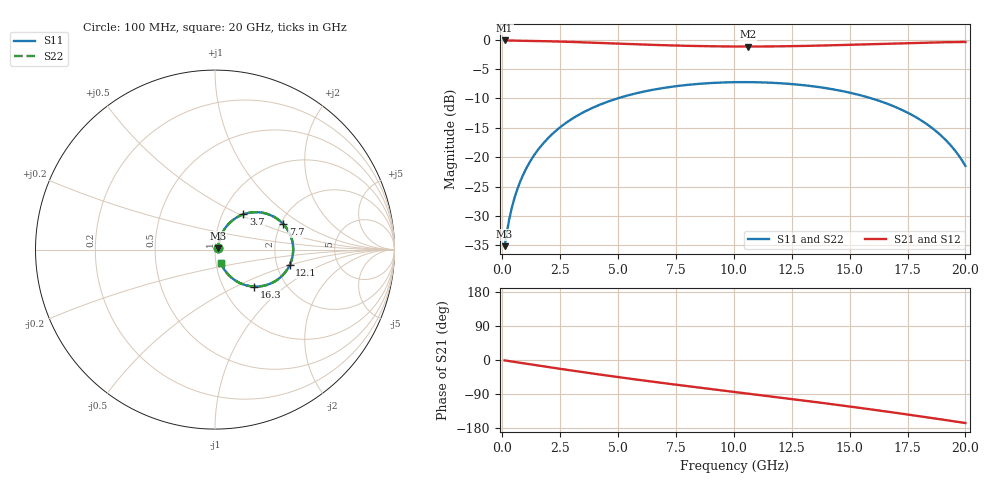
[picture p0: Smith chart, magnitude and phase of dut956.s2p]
! Touchstone file exported from HFSS 2026.1.0
!  File:  C:/ffzhzh/LocalFiles/Ansys_Project_Files/temp_train_TSV_RDL_956_1783283834_39728.aedt
!  Generated:  04:49:22 AM Jul  6, 2026
!  Design:  TSV_RDL
!  Project:  temp_train_TSV_RDL_956_1783283834_39728
! Variables:
!  h_bsmrdl = 2.88um
!  h_ox = 20um
!  h_rdl = 5um
!  h_sub = 67.28um
!  h_tmrdl = 3.02um
!  h_tsv = 67.28um
!  h_via = 3um
!  l_bsmrdl = 393.43um
!  l_sub = 2817.42um
!  l_tmrdl = 268.49um
!  m_sub = 200um
!  pitch = 44.26um
!  r_tsv = 3.51um
!  s_tmrdl = 10um
!  w_bsmrdl = 28.75um
!  w_sub = 500um
!  w_tmrdl = 25.64um
!  x_tsv_center1 = 281.31um
!  x_tsv_center2 = 703.49um
!  x_tsv_center3 = 997.62um
!  x_tsv_center4 = 1419.8um
!  x_tsv_center5 = 1713.93um
!  x_tsv_center6 = 2136.11um
# GHz S MA R 50.000000
! Terminal data exported
! Port[1] = TM_RDL1_1_T1
! Port[2] = TM_RDL5_1_T1
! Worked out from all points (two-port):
!   200 points, 100 MHz to 20 GHz, reference 50 ohm
!   highest |S21| = -0.13 dB at 100 MHz (marker M1); lowest = -1.2 dB at 10.6 GHz (marker M2)
!   |S21| within 3 dB of the highest: start of sweep to end of sweep
!   lowest |S11| = -35.1 dB at 100 MHz (marker M3), VSWR 1.04, Z = 51.6 + j0.854 ohm
!   |S11| at or under -10 dB: start of sweep to 4.967 GHz; 15.96 GHz to end of sweep
!   |S22| runs from -35.1 to -7.2 dB; largest |S21 - S12| = 5.3e-13
!   S11 on the Smith chart (normalised r, x): 100 MHz: 1.03, +0.02; 3.7 GHz: 1.25, +0.53; 7.7 GHz: 2.07, +0.70; 12.1 GHz: 2.35, -0.49; 16.3 GHz: 1.40, -0.63; 20 GHz: 1.06, -0.16
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0.1  0.01755 28.1  0.9846 -1.0  0.9846 -1.0  0.01755 28.1
! Gamma 0 0 0 0
! Port Impedance 50 0 50 0
0.3  0.0297 52.8  0.983 -3.0  0.983 -3.0  0.0297 52.8
0.5  0.04327 60.8  0.9814 -4.8  0.9814 -4.8  0.04327 60.8
0.8  0.06396 65.3  0.9793 -7.6  0.9793 -7.6  0.06396 65.3
1.2  0.09189 66.5  0.9764 -11.4  0.9764 -11.4  0.09189 66.5
2.2  0.1604 62.2  0.9668 -20.6  0.9668 -20.6  0.1604 62.2
3.5  0.2411 52.7  0.949 -32.2  0.949 -32.2  0.2411 52.7
3.7  0.2524 51.2  0.9459 -34.0  0.9459 -34.0  0.2524 51.2
5.1  0.3221 40.2  0.9238 -45.9  0.9238 -45.9  0.3221 40.2
6.8  0.3839 27.1  0.8993 -59.7  0.8993 -59.7  0.3839 27.1
7.7  0.4066 20.3  0.8891 -66.7  0.8891 -66.7  0.4066 20.3
10.1  0.4352 2.8  0.8747 -84.9  0.8747 -84.9  0.4352 2.8
10.6  0.4355 -0.8  0.8743 -88.6  0.8743 -88.6  0.4356 -0.8
12.1  0.425 -11.7  0.8784 -100.0  0.8784 -100.0  0.425 -11.7
13.4  0.4017 -21.2  0.8877 -110.0  0.8877 -110.0  0.4017 -21.2
14.9  0.358 -32.5  0.9036 -121.9  0.9036 -121.9  0.3581 -32.5
16.3  0.3008 -43.2  0.9211 -133.5  0.9211 -133.5  0.3009 -43.2
16.7  0.2817 -46.3  0.9261 -136.9  0.9261 -136.9  0.2817 -46.3
17.8  0.2228 -54.6  0.9391 -146.4  0.9391 -146.4  0.2228 -54.6
18.7  0.1688 -60.9  0.9478 -154.5  0.9478 -154.5  0.1688 -60.9
19.4  0.1241 -64.8  0.9529 -160.8  0.9529 -160.8  0.1241 -64.9
20  0.08451 -66.1  0.9557 -166.3  0.9557 -166.3  0.08449 -66.3
